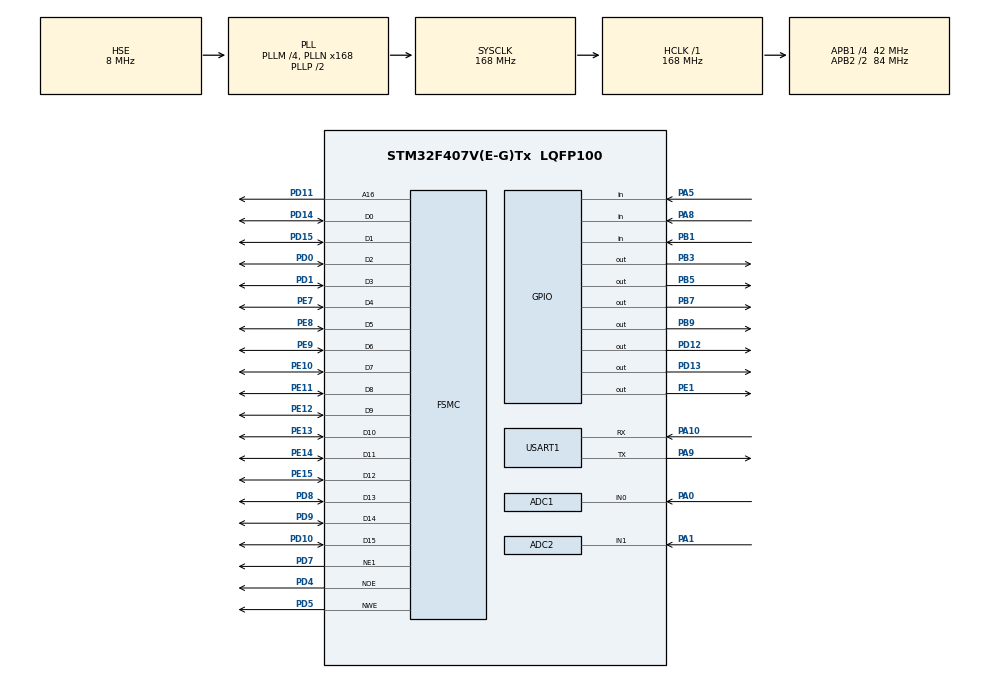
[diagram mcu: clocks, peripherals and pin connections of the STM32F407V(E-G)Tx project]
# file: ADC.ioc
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ADC1.Channel-33\#ChannelRegularConversion=ADC_CHANNEL_0
ADC1.ClockPrescaler=ADC_CLOCK_SYNC_PCLK_DIV4
ADC1.ContinuousConvMode=DISABLE
ADC1.DMAContinuousRequests=DISABLE
ADC1.DataAlign=ADC_DATAALIGN_RIGHT
ADC1.DiscontinuousConvMode=DISABLE
ADC1.EOCSelection=ADC_EOC_SINGLE_CONV
ADC1.EnableAnalogWatchDog=false
ADC1.ExternalTrigConv=ADC_SOFTWARE_START
ADC1.ExternalTrigConvEdge=ADC_EXTERNALTRIGCONVEDGE_NONE
ADC1.InjNumberOfConversion=0
ADC1.NbrOfConversion=1
ADC1.NbrOfConversionFlag=1
ADC1.Rank-33\#ChannelRegularConversion=1
ADC1.Resolution=ADC_RESOLUTION_12B
ADC1.SamplingTime-33\#ChannelRegularConversion=ADC_SAMPLETIME_3CYCLES
ADC1.ScanConvMode=DISABLE
ADC1.master=1
ADC2.Channel-13\#ChannelRegularConversion=ADC_CHANNEL_1
ADC2.ClockPrescaler=ADC_CLOCK_SYNC_PCLK_DIV4
ADC2.ContinuousConvMode=DISABLE
ADC2.DMAContinuousRequests=DISABLE
ADC2.DataAlign=ADC_DATAALIGN_RIGHT
ADC2.DiscontinuousConvMode=DISABLE
ADC2.EOCSelection=ADC_EOC_SINGLE_CONV
ADC2.EnableAnalogWatchDog=false
ADC2.ExternalTrigConv=ADC_SOFTWARE_START
ADC2.ExternalTrigConvEdge=ADC_EXTERNALTRIGCONVEDGE_NONE
ADC2.InjNumberOfConversion=0
ADC2.NbrOfConversion=1
ADC2.NbrOfConversionFlag=1
ADC2.Rank-13\#ChannelRegularConversion=1
ADC2.Resolution=ADC_RESOLUTION_12B
ADC2.SamplingTime-13\#ChannelRegularConversion=ADC_SAMPLETIME_3CYCLES
ADC2.ScanConvMode=DISABLE
FSMC.DataSetupTime1=60
FSMC.ExtendedAddressSetupTime1=3
FSMC.ExtendedDataSetupTime1=2
FSMC.ExtendedMode1=FSMC_EXTENDED_MODE_ENABLE
Mcu.Family=STM32F4
Mcu.Name=STM32F407V(E-G)Tx
Mcu.Package=LQFP100
NVIC.PriorityGroup=NVIC_PRIORITYGROUP_2
NVIC.TIM3_IRQn=true\:3\:3\:true\:false\:true
PA0-WKUP.Signal=ADCx_IN0
PA1.Signal=ADCx_IN1
PA10.Mode=Asynchronous
PA10.Signal=USART1_RX
PA5.GPIO_Mode=GPIO_MODE_INPUT
PA5.GPIO_PuPd=GPIO_NOPULL
PA5.Signal=GPIO_Input
PA8.GPIO_Mode=GPIO_MODE_INPUT
PA8.GPIO_PuPd=GPIO_NOPULL
PA8.Signal=GPIO_Input
PA9.GPIO_Mode=GPIO_MODE_AF_PP
PA9.Mode=Asynchronous
PA9.Signal=USART1_TX
PB1.GPIO_Mode=GPIO_MODE_INPUT
PB1.GPIO_PuPd=GPIO_NOPULL
PB1.Signal=GPIO_Input
PB3.GPIO_ModeDefaultOutputPP=GPIO_MODE_OUTPUT_PP
PB3.GPIO_PuPd=GPIO_NOPULL
PB3.GPIO_Speed=GPIO_SPEED_FREQ_LOW
PB3.PinState=GPIO_PIN_RESET
PB3.Signal=GPIO_Output
PB5.GPIO_ModeDefaultOutputPP=GPIO_MODE_OUTPUT_PP
PB5.GPIO_PuPd=GPIO_NOPULL
PB5.GPIO_Speed=GPIO_SPEED_FREQ_LOW
PB5.PinState=GPIO_PIN_RESET
PB5.Signal=GPIO_Output
PB7.GPIO_ModeDefaultOutputPP=GPIO_MODE_OUTPUT_PP
PB7.GPIO_PuPd=GPIO_NOPULL
PB7.GPIO_Speed=GPIO_SPEED_FREQ_LOW
PB7.PinState=GPIO_PIN_RESET
PB7.Signal=GPIO_Output
PB9.GPIO_ModeDefaultOutputPP=GPIO_MODE_OUTPUT_PP
PB9.GPIO_PuPd=GPIO_NOPULL
PB9.GPIO_Speed=GPIO_SPEED_FREQ_LOW
PB9.PinState=GPIO_PIN_RESET
PB9.Signal=GPIO_Output
PD0.GPIO_Mode=GPIO_MODE_AF_PP
PD0.GPIO_PuPd=GPIO_PULLUP
PD0.GPIO_Speed_High_Default=GPIO_SPEED_FREQ_VERY_HIGH
PD0.Mode=16b-d1
PD0.Signal=FSMC_D2
PD1.GPIO_Mode=GPIO_MODE_AF_PP
PD1.GPIO_PuPd=GPIO_PULLUP
PD1.GPIO_Speed_High_Default=GPIO_SPEED_FREQ_VERY_HIGH
PD1.Mode=16b-d1
PD1.Signal=FSMC_D3
PD10.GPIO_Mode=GPIO_MODE_AF_PP
PD10.GPIO_PuPd=GPIO_PULLUP
PD10.GPIO_Speed_High_Default=GPIO_SPEED_FREQ_VERY_HIGH
PD10.Mode=16b-d1
PD10.Signal=FSMC_D15
PD11.GPIO_Mode=GPIO_MODE_AF_PP
PD11.GPIO_PuPd=GPIO_PULLUP
PD11.GPIO_Speed_High_Default=GPIO_SPEED_FREQ_VERY_HIGH
PD11.Mode=A16_1
PD11.Signal=FSMC_A16
PD12.GPIO_ModeDefaultOutputPP=GPIO_MODE_OUTPUT_PP
PD12.GPIO_PuPd=GPIO_NOPULL
PD12.GPIO_Speed=GPIO_SPEED_FREQ_LOW
PD12.PinState=GPIO_PIN_RESET
PD12.Signal=GPIO_Output
PD13.GPIO_ModeDefaultOutputPP=GPIO_MODE_OUTPUT_PP
PD13.GPIO_PuPd=GPIO_NOPULL
PD13.GPIO_Speed=GPIO_SPEED_FREQ_LOW
PD13.PinState=GPIO_PIN_RESET
PD13.Signal=GPIO_Output
PD14.GPIO_Mode=GPIO_MODE_AF_PP
PD14.GPIO_PuPd=GPIO_PULLUP
PD14.GPIO_Speed_High_Default=GPIO_SPEED_FREQ_VERY_HIGH
PD14.Mode=16b-d1
PD14.Signal=FSMC_D0
PD15.GPIO_Mode=GPIO_MODE_AF_PP
PD15.GPIO_PuPd=GPIO_PULLUP
PD15.GPIO_Speed_High_Default=GPIO_SPEED_FREQ_VERY_HIGH
PD15.Mode=16b-d1
PD15.Signal=FSMC_D1
PD4.GPIO_Mode=GPIO_MODE_AF_PP
PD4.GPIO_PuPd=GPIO_PULLUP
PD4.GPIO_Speed_High_Default=GPIO_SPEED_FREQ_VERY_HIGH
PD4.Mode=Lcd1
PD4.Signal=FSMC_NOE
PD5.GPIO_Mode=GPIO_MODE_AF_PP
PD5.GPIO_PuPd=GPIO_PULLUP
PD5.GPIO_Speed_High_Default=GPIO_SPEED_FREQ_VERY_HIGH
PD5.Mode=Lcd1
PD5.Signal=FSMC_NWE
PD7.GPIO_Mode=GPIO_MODE_AF_PP
PD7.GPIO_PuPd=GPIO_PULLUP
PD7.GPIO_Speed_High_Default=GPIO_SPEED_FREQ_VERY_HIGH
PD7.Mode=NorPsramChipSelect1_1
PD7.Signal=FSMC_NE1
PD8.GPIO_Mode=GPIO_MODE_AF_PP
PD8.GPIO_PuPd=GPIO_PULLUP
PD8.GPIO_Speed_High_Default=GPIO_SPEED_FREQ_VERY_HIGH
PD8.Mode=16b-d1
PD8.Signal=FSMC_D13
PD9.GPIO_Mode=GPIO_MODE_AF_PP
PD9.GPIO_PuPd=GPIO_PULLUP
PD9.GPIO_Speed_High_Default=GPIO_SPEED_FREQ_VERY_HIGH
PD9.Mode=16b-d1
PD9.Signal=FSMC_D14
PE1.GPIO_ModeDefaultOutputPP=GPIO_MODE_OUTPUT_PP
PE1.GPIO_PuPd=GPIO_NOPULL
PE1.GPIO_Speed=GPIO_SPEED_FREQ_LOW
PE1.PinState=GPIO_PIN_RESET
PE1.Signal=GPIO_Output
PE10.GPIO_Mode=GPIO_MODE_AF_PP
PE10.GPIO_PuPd=GPIO_PULLUP
PE10.GPIO_Speed_High_Default=GPIO_SPEED_FREQ_VERY_HIGH
PE10.Mode=16b-d1
PE10.Signal=FSMC_D7
PE11.GPIO_Mode=GPIO_MODE_AF_PP
PE11.GPIO_PuPd=GPIO_PULLUP
PE11.GPIO_Speed_High_Default=GPIO_SPEED_FREQ_VERY_HIGH
PE11.Mode=16b-d1
PE11.Signal=FSMC_D8
PE12.GPIO_Mode=GPIO_MODE_AF_PP
PE12.GPIO_PuPd=GPIO_PULLUP
PE12.GPIO_Speed_High_Default=GPIO_SPEED_FREQ_VERY_HIGH
PE12.Mode=16b-d1
PE12.Signal=FSMC_D9
PE13.GPIO_Mode=GPIO_MODE_AF_PP
PE13.GPIO_PuPd=GPIO_PULLUP
PE13.GPIO_Speed_High_Default=GPIO_SPEED_FREQ_VERY_HIGH
PE13.Mode=16b-d1
PE13.Signal=FSMC_D10
PE14.GPIO_Mode=GPIO_MODE_AF_PP
PE14.GPIO_PuPd=GPIO_PULLUP
PE14.GPIO_Speed_High_Default=GPIO_SPEED_FREQ_VERY_HIGH
PE14.Mode=16b-d1
PE14.Signal=FSMC_D11
PE15.GPIO_Mode=GPIO_MODE_AF_PP
PE15.GPIO_PuPd=GPIO_PULLUP
PE15.GPIO_Speed_High_Default=GPIO_SPEED_FREQ_VERY_HIGH
PE15.Mode=16b-d1
PE15.Signal=FSMC_D12
PE7.GPIO_Mode=GPIO_MODE_AF_PP
PE7.GPIO_PuPd=GPIO_PULLUP
PE7.GPIO_Speed_High_Default=GPIO_SPEED_FREQ_VERY_HIGH
PE7.Mode=16b-d1
PE7.Signal=FSMC_D4
PE8.GPIO_Mode=GPIO_MODE_AF_PP
PE8.GPIO_PuPd=GPIO_PULLUP
PE8.GPIO_Speed_High_Default=GPIO_SPEED_FREQ_VERY_HIGH
PE8.Mode=16b-d1
PE8.Signal=FSMC_D5
PE9.GPIO_Mode=GPIO_MODE_AF_PP
PE9.GPIO_PuPd=GPIO_PULLUP
PE9.GPIO_Speed_High_Default=GPIO_SPEED_FREQ_VERY_HIGH
PE9.Mode=16b-d1
PE9.Signal=FSMC_D6
PH0-OSC_IN.Mode=HSE-External-Oscillator
PH0-OSC_IN.Signal=RCC_OSC_IN
PH1-OSC_OUT.Mode=HSE-External-Oscillator
PH1-OSC_OUT.Signal=RCC_OSC_OUT
ProjectManager.HeapSize=0x200
ProjectManager.StackSize=0x400
ProjectManager.TargetToolchain=MDK-ARM V5
RCC.48MHZClocksFreq_Value=84000000
RCC.AHBFreq_Value=168000000
RCC.APB1CLKDivider=RCC_HCLK_DIV4
RCC.APB1Freq_Value=42000000
RCC.APB1TimFreq_Value=84000000
RCC.APB2CLKDivider=RCC_HCLK_DIV2
RCC.APB2Freq_Value=84000000
RCC.APB2TimFreq_Value=168000000
RCC.CortexFreq_Value=168000000
RCC.HCLKFreq_Value=168000000
RCC.HSE_VALUE=8000000
RCC.HSI_VALUE=16000000
RCC.LSE_VALUE=32768
RCC.PLLM=4
RCC.PLLN=168
RCC.PLLSourceVirtual=RCC_PLLSOURCE_HSE
RCC.SYSCLKFreq_VALUE=168000000
RCC.SYSCLKSource=RCC_SYSCLKSOURCE_PLLCLK
RCC.VCOOutputFreq_Value=336000000
SH.ADCx_IN0.0=ADC1_IN0,IN0
SH.ADCx_IN1.0=ADC2_IN1,IN1
TIM3.Period=65535
TIM3.Prescaler=83
USART1.VirtualMode=VM_ASYNC
VP_TIM3_VS_ClockSourceINT.Mode=Internal
board=ADC

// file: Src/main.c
/**
  ******************************************************************************
  * File Name          : main.c
  * Description        : Main program body
  ******************************************************************************
  *
  * COPYRIGHT(c) 2017 STMicroelectronics
  *
  * Redistribution and use in source and binary forms, with or without modification,
  * are permitted provided that the following conditions are met:
  *   1. Redistributions of source code must retain the above copyright notice,
  *      this list of conditions and the following disclaimer.
  *   2. Redistributions in binary form must reproduce the above copyright notice,
  *      this list of conditions and the following disclaimer in the documentation
  *      and/or other materials provided with the distribution.
  *   3. Neither the name of STMicroelectronics nor the names of its contributors
  *      may be used to endorse or promote products derived from this software
  *      without specific prior written permission.
  *
  * THIS SOFTWARE IS PROVIDED BY THE COPYRIGHT HOLDERS AND CONTRIBUTORS "AS IS"
  * AND ANY EXPRESS OR IMPLIED WARRANTIES, INCLUDING, BUT NOT LIMITED TO, THE
  * IMPLIED WARRANTIES OF MERCHANTABILITY AND FITNESS FOR A PARTICULAR PURPOSE ARE
  * DISCLAIMED. IN NO EVENT SHALL THE COPYRIGHT HOLDER OR CONTRIBUTORS BE LIABLE
  * FOR ANY DIRECT, INDIRECT, INCIDENTAL, SPECIAL, EXEMPLARY, OR CONSEQUENTIAL
  * DAMAGES (INCLUDING, BUT NOT LIMITED TO, PROCUREMENT OF SUBSTITUTE GOODS OR
  * SERVICES; LOSS OF USE, DATA, OR PROFITS; OR BUSINESS INTERRUPTION) HOWEVER
  * CAUSED AND ON ANY THEORY OF LIABILITY, WHETHER IN CONTRACT, STRICT LIABILITY,
  * OR TORT (INCLUDING NEGLIGENCE OR OTHERWISE) ARISING IN ANY WAY OUT OF THE USE
  * OF THIS SOFTWARE, EVEN IF ADVISED OF THE POSSIBILITY OF SUCH DAMAGE.
  *
  ******************************************************************************
  */
#include "main.h"
#include "stm32f4xx_hal.h"

/* USER CODE BEGIN Includes */
#include "sys.h"
#include "delay.h"
#include "usart.h"
#include "adc.h"
#include "math.h"
#include "arm_math.h"
#include "key.h"
#define FFT_LENGTH 4096
/* USER CODE END Includes */

ADC_HandleTypeDef hadc1;
ADC_HandleTypeDef hadc2;

TIM_HandleTypeDef htim3;

SRAM_HandleTypeDef hsram1;

/* USER CODE BEGIN PV */
/* Private variables ---------------------------------------------------------*/

/* USER CODE END PV */

void SystemClock_Config(void);
void Error_Handler(void);
static void MX_GPIO_Init(void);
static void MX_FSMC_Init(void);
static void MX_USART1_UART_Init(void);
static void MX_ADC1_Init(void);
static void MX_ADC2_Init(void);
static void MX_TIM3_Init(void);

/* USER CODE BEGIN PFP */
/* Private function prototypes -----------------------------------------------*/

/* USER CODE END PFP */

/* USER CODE BEGIN 0 */
float fft_inputbuf[FFT_LENGTH*2];
float fft_outputbuf[FFT_LENGTH];
u16 timeout;
/* USER CODE END 0 */

int main(void)
{

  /* USER CODE BEGIN 1 */
	u16 a,AD[100];
	arm_cfft_radix4_instance_f32 scfft;
	u16 i=0;
	float time;
  /* USER CODE END 1 */

  /* MCU Configuration----------------------------------------------------------*/

  /* Reset of all peripherals, Initializes the Flash interface and the Systick. */
  HAL_Init();

  /* Configure the system clock */
  SystemClock_Config();

  /* Initialize all configured peripherals */
  MX_GPIO_Init();
  MX_FSMC_Init();
  MX_USART1_UART_Init();
  MX_ADC1_Init();
  MX_ADC2_Init();
  MX_TIM3_Init();
  /* USER CODE BEGIN 2 */
	HAL_TIM_Base_Start_IT(&htim3);//使能定时器和定时器中断
  /* USER CODE END 2 */

  /* Infinite loop */
  while (1)
  {

  /* USER CODE BEGIN 3 */
		if(KEY0==0)
		{
			HAL_Delay(5);
			if(KEY0==0)
			{
				arm_cfft_radix4_init_f32(&scfft,FFT_LENGTH,0,1);

				__HAL_TIM_SetCounter(&htim3,0);
				timeout=0;

				for(i=0;i<FFT_LENGTH;i++)
				{
					fft_inputbuf[2*i]=(float)Get_Adc(&hadc1);
				}
				time=__HAL_TIM_GetCounter(&htim3)+(u32)timeout*65536;
				for(i=0;i<FFT_LENGTH;i++)
				{
					fft_inputbuf[2*i]=fft_inputbuf[2*i]*3.3/4096;
				}

				printf("采样到的值为：");
				printf("\r\n\r\n");
				for(i=0;i<FFT_LENGTH;i++)
				{
					fft_inputbuf[2*i+1]=0;
					printf("%f ",fft_inputbuf[2*i]);
				}
				arm_cfft_radix4_f32(&scfft,fft_inputbuf);	//FFT计算（基4）
				arm_cmplx_mag_f32(fft_inputbuf,fft_outputbuf,FFT_LENGTH);	//把运算结果复数求模得幅值
				printf("傅里叶的值为：");
				printf("\r\n\r\n");
				for(i=0;i<FFT_LENGTH;i++)
				{
				printf("%f ",fft_outputbuf[i]);

				}
				printf("\r\n\r\n");//插入换行
				for(i=0;i<FFT_LENGTH;i++)
				{
				/*	if(fft_outputbuf[i]>=1)
					{
						printf("这是第%d个,数值为%f",i,fft_outputbuf[i]);
					printf("\r\n\r\n");//插入换行
					}*/
					fft_inputbuf[2*i]=0;
					fft_inputbuf[2*i+1]=0;
				}
				printf("总的采样时间为:%f uS",time);
				while(!KEY0);
			}
		}
		if(KEY1==0)
		{
			HAL_Delay(5);
			if(KEY1==0)
			{
				for(i=0;i<FFT_LENGTH;i++)
			{
				 fft_inputbuf[2*i]=0;
				 fft_inputbuf[2*i+1]=0;
					arm_cfft_radix4_init_f32(&scfft,FFT_LENGTH,0,1);
			}
			}
		}
  }
  /* USER CODE END 3 */

}

/** System Clock Configuration
*/
void SystemClock_Config(void)
{

  RCC_OscInitTypeDef RCC_OscInitStruct;
  RCC_ClkInitTypeDef RCC_ClkInitStruct;

    /**Configure the main internal regulator output voltage
    */
  __HAL_RCC_PWR_CLK_ENABLE();

  __HAL_PWR_VOLTAGESCALING_CONFIG(PWR_REGULATOR_VOLTAGE_SCALE1);

    /**Initializes the CPU, AHB and APB busses clocks
    */
  RCC_OscInitStruct.OscillatorType = RCC_OSCILLATORTYPE_HSE;
  RCC_OscInitStruct.HSEState = RCC_HSE_ON;
  RCC_OscInitStruct.PLL.PLLState = RCC_PLL_ON;
  RCC_OscInitStruct.PLL.PLLSource = RCC_PLLSOURCE_HSE;
  RCC_OscInitStruct.PLL.PLLM = 4;
  RCC_OscInitStruct.PLL.PLLN = 168;
  RCC_OscInitStruct.PLL.PLLP = RCC_PLLP_DIV2;
  RCC_OscInitStruct.PLL.PLLQ = 4;
  if (HAL_RCC_OscConfig(&RCC_OscInitStruct) != HAL_OK)
  {
    Error_Handler();
  }

    /**Initializes the CPU, AHB and APB busses clocks
    */
  RCC_ClkInitStruct.ClockType = RCC_CLOCKTYPE_HCLK|RCC_CLOCKTYPE_SYSCLK
                              |RCC_CLOCKTYPE_PCLK1|RCC_CLOCKTYPE_PCLK2;
  RCC_ClkInitStruct.SYSCLKSource = RCC_SYSCLKSOURCE_PLLCLK;
  RCC_ClkInitStruct.AHBCLKDivider = RCC_SYSCLK_DIV1;
  RCC_ClkInitStruct.APB1CLKDivider = RCC_HCLK_DIV4;
  RCC_ClkInitStruct.APB2CLKDivider = RCC_HCLK_DIV2;

  if (HAL_RCC_ClockConfig(&RCC_ClkInitStruct, FLASH_LATENCY_5) != HAL_OK)
  {
    Error_Handler();
  }

    /**Configure the Systick interrupt time
    */
  HAL_SYSTICK_Config(HAL_RCC_GetHCLKFreq()/1000);

    /**Configure the Systick
    */
  HAL_SYSTICK_CLKSourceConfig(SYSTICK_CLKSOURCE_HCLK);

  /* SysTick_IRQn interrupt configuration */
  HAL_NVIC_SetPriority(SysTick_IRQn, 0, 0);
}

/* ADC1 init function */
static void MX_ADC1_Init(void)
{

  ADC_ChannelConfTypeDef sConfig;

    /**Configure the global features of the ADC (Clock, Resolution, Data Alignment and number of conversion)
    */
  hadc1.Instance = ADC1;
  hadc1.Init.ClockPrescaler = ADC_CLOCK_SYNC_PCLK_DIV4;
  hadc1.Init.Resolution = ADC_RESOLUTION_12B;
  hadc1.Init.ScanConvMode = DISABLE;
  hadc1.Init.ContinuousConvMode = DISABLE;
  hadc1.Init.DiscontinuousConvMode = DISABLE;
  hadc1.Init.ExternalTrigConvEdge = ADC_EXTERNALTRIGCONVEDGE_NONE;
  hadc1.Init.ExternalTrigConv = ADC_SOFTWARE_START;
  hadc1.Init.DataAlign = ADC_DATAALIGN_RIGHT;
  hadc1.Init.NbrOfConversion = 1;
  hadc1.Init.DMAContinuousRequests = DISABLE;
  hadc1.Init.EOCSelection = ADC_EOC_SINGLE_CONV;
  if (HAL_ADC_Init(&hadc1) != HAL_OK)
  {
    Error_Handler();
  }

    /**Configure for the selected ADC regular channel its corresponding rank in the sequencer and its sample time.
    */
  sConfig.Channel = ADC_CHANNEL_0;
  sConfig.Rank = 1;
  sConfig.SamplingTime = ADC_SAMPLETIME_3CYCLES;
  if (HAL_ADC_ConfigChannel(&hadc1, &sConfig) != HAL_OK)
  {
    Error_Handler();
  }

}

/* ADC2 init function */
static void MX_ADC2_Init(void)
{

  ADC_ChannelConfTypeDef sConfig;

    /**Configure the global features of the ADC (Clock, Resolution, Data Alignment and number of conversion)
    */
  hadc2.Instance = ADC2;
  hadc2.Init.ClockPrescaler = ADC_CLOCK_SYNC_PCLK_DIV4;
  hadc2.Init.Resolution = ADC_RESOLUTION_12B;
  hadc2.Init.ScanConvMode = DISABLE;
  hadc2.Init.ContinuousConvMode = DISABLE;
  hadc2.Init.DiscontinuousConvMode = DISABLE;
  hadc2.Init.ExternalTrigConvEdge = ADC_EXTERNALTRIGCONVEDGE_NONE;
  hadc2.Init.ExternalTrigConv = ADC_SOFTWARE_START;
  hadc2.Init.DataAlign = ADC_DATAALIGN_RIGHT;
  hadc2.Init.NbrOfConversion = 1;
  hadc2.Init.DMAContinuousRequests = DISABLE;
  hadc2.Init.EOCSelection = ADC_EOC_SINGLE_CONV;
  if (HAL_ADC_Init(&hadc2) != HAL_OK)
  {
    Error_Handler();
  }

    /**Configure for the selected ADC regular channel its corresponding rank in the sequencer and its sample time.
    */
  sConfig.Channel = ADC_CHANNEL_1;
  sConfig.Rank = 1;
  sConfig.SamplingTime = ADC_SAMPLETIME_3CYCLES;
  if (HAL_ADC_ConfigChannel(&hadc2, &sConfig) != HAL_OK)
  {
    Error_Handler();
  }

}

/* TIM3 init function */
static void MX_TIM3_Init(void)
{

  TIM_ClockConfigTypeDef sClockSourceConfig;
  TIM_MasterConfigTypeDef sMasterConfig;

  htim3.Instance = TIM3;
  htim3.Init.Prescaler = 83;
  htim3.Init.CounterMode = TIM_COUNTERMODE_UP;
  htim3.Init.Period = 65535;
  htim3.Init.ClockDivision = TIM_CLOCKDIVISION_DIV1;
  if (HAL_TIM_Base_Init(&htim3) != HAL_OK)
  {
    Error_Handler();
  }

  sClockSourceConfig.ClockSource = TIM_CLOCKSOURCE_INTERNAL;
  if (HAL_TIM_ConfigClockSource(&htim3, &sClockSourceConfig) != HAL_OK)
  {
    Error_Handler();
  }

  sMasterConfig.MasterOutputTrigger = TIM_TRGO_RESET;
  sMasterConfig.MasterSlaveMode = TIM_MASTERSLAVEMODE_DISABLE;
  if (HAL_TIMEx_MasterConfigSynchronization(&htim3, &sMasterConfig) != HAL_OK)
  {
    Error_Handler();
  }

}

/* USART1 init function */
static void MX_USART1_UART_Init(void)
{

  huart1.Instance = USART1;
  huart1.Init.BaudRate = 115200;
  huart1.Init.WordLength = UART_WORDLENGTH_8B;
  huart1.Init.StopBits = UART_STOPBITS_1;
  huart1.Init.Parity = UART_PARITY_NONE;
  huart1.Init.Mode = UART_MODE_TX_RX;
  huart1.Init.HwFlowCtl = UART_HWCONTROL_NONE;
  huart1.Init.OverSampling = UART_OVERSAMPLING_16;
  if (HAL_UART_Init(&huart1) != HAL_OK)
  {
    Error_Handler();
  }

}

/** Configure pins as
        * Analog
        * Input
        * Output
        * EVENT_OUT
        * EXTI
*/
static void MX_GPIO_Init(void)
{

  GPIO_InitTypeDef GPIO_InitStruct;

  /* GPIO Ports Clock Enable */
  __HAL_RCC_GPIOH_CLK_ENABLE();
  __HAL_RCC_GPIOA_CLK_ENABLE();
  __HAL_RCC_GPIOB_CLK_ENABLE();
  __HAL_RCC_GPIOE_CLK_ENABLE();
  __HAL_RCC_GPIOD_CLK_ENABLE();

  /*Configure GPIO pin Output Level */
  HAL_GPIO_WritePin(GPIOD, GPIO_PIN_12|GPIO_PIN_13, GPIO_PIN_RESET);

  /*Configure GPIO pin Output Level */
  HAL_GPIO_WritePin(GPIOB, GPIO_PIN_3|GPIO_PIN_5|GPIO_PIN_7|GPIO_PIN_9, GPIO_PIN_RESET);

  /*Configure GPIO pin Output Level */
  HAL_GPIO_WritePin(GPIOE, GPIO_PIN_1, GPIO_PIN_RESET);

  /*Configure GPIO pins : PA5 PA8 */
  GPIO_InitStruct.Pin = GPIO_PIN_5|GPIO_PIN_8;
  GPIO_InitStruct.Mode = GPIO_MODE_INPUT;
  GPIO_InitStruct.Pull = GPIO_NOPULL;
  HAL_GPIO_Init(GPIOA, &GPIO_InitStruct);

  /*Configure GPIO pin : PB1 */
  GPIO_InitStruct.Pin = GPIO_PIN_1;
  GPIO_InitStruct.Mode = GPIO_MODE_INPUT;
  GPIO_InitStruct.Pull = GPIO_NOPULL;
  HAL_GPIO_Init(GPIOB, &GPIO_InitStruct);

  /*Configure GPIO pins : PD12 PD13 */
  GPIO_InitStruct.Pin = GPIO_PIN_12|GPIO_PIN_13;
  GPIO_InitStruct.Mode = GPIO_MODE_OUTPUT_PP;
  GPIO_InitStruct.Pull = GPIO_NOPULL;
  GPIO_InitStruct.Speed = GPIO_SPEED_FREQ_LOW;
  HAL_GPIO_Init(GPIOD, &GPIO_InitStruct);

  /*Configure GPIO pins : PB3 PB5 PB7 PB9 */
  GPIO_InitStruct.Pin = GPIO_PIN_3|GPIO_PIN_5|GPIO_PIN_7|GPIO_PIN_9;
  GPIO_InitStruct.Mode = GPIO_MODE_OUTPUT_PP;
  GPIO_InitStruct.Pull = GPIO_NOPULL;
  GPIO_InitStruct.Speed = GPIO_SPEED_FREQ_LOW;
  HAL_GPIO_Init(GPIOB, &GPIO_InitStruct);

  /*Configure GPIO pin : PE1 */
  GPIO_InitStruct.Pin = GPIO_PIN_1;
  GPIO_InitStruct.Mode = GPIO_MODE_OUTPUT_PP;
  GPIO_InitStruct.Pull = GPIO_NOPULL;
  GPIO_InitStruct.Speed = GPIO_SPEED_FREQ_LOW;
  HAL_GPIO_Init(GPIOE, &GPIO_InitStruct);

}

/* FSMC initialization function */
static void MX_FSMC_Init(void)
{
  FSMC_NORSRAM_TimingTypeDef Timing;
  FSMC_NORSRAM_TimingTypeDef ExtTiming;

  /** Perform the SRAM1 memory initialization sequence
  */
  hsram1.Instance = FSMC_NORSRAM_DEVICE;
  hsram1.Extended = FSMC_NORSRAM_EXTENDED_DEVICE;
  /* hsram1.Init */
  hsram1.Init.NSBank = FSMC_NORSRAM_BANK1;
  hsram1.Init.DataAddressMux = FSMC_DATA_ADDRESS_MUX_DISABLE;
  hsram1.Init.MemoryType = FSMC_MEMORY_TYPE_SRAM;
  hsram1.Init.MemoryDataWidth = FSMC_NORSRAM_MEM_BUS_WIDTH_16;
  hsram1.Init.BurstAccessMode = FSMC_BURST_ACCESS_MODE_DISABLE;
  hsram1.Init.WaitSignalPolarity = FSMC_WAIT_SIGNAL_POLARITY_LOW;
  hsram1.Init.WrapMode = FSMC_WRAP_MODE_DISABLE;
  hsram1.Init.WaitSignalActive = FSMC_WAIT_TIMING_BEFORE_WS;
  hsram1.Init.WriteOperation = FSMC_WRITE_OPERATION_ENABLE;
  hsram1.Init.WaitSignal = FSMC_WAIT_SIGNAL_DISABLE;
  hsram1.Init.ExtendedMode = FSMC_EXTENDED_MODE_ENABLE;
  hsram1.Init.AsynchronousWait = FSMC_ASYNCHRONOUS_WAIT_DISABLE;
  hsram1.Init.WriteBurst = FSMC_WRITE_BURST_DISABLE;
  hsram1.Init.PageSize = FSMC_PAGE_SIZE_NONE;
  /* Timing */
  Timing.AddressSetupTime = 15;
  Timing.AddressHoldTime = 15;
  Timing.DataSetupTime = 60;
  Timing.BusTurnAroundDuration = 15;
  Timing.CLKDivision = 16;
  Timing.DataLatency = 17;
  Timing.AccessMode = FSMC_ACCESS_MODE_A;
  /* ExtTiming */
  ExtTiming.AddressSetupTime = 3;
  ExtTiming.AddressHoldTime = 15;
  ExtTiming.DataSetupTime = 2;
  ExtTiming.BusTurnAroundDuration = 15;
  ExtTiming.CLKDivision = 16;
  ExtTiming.DataLatency = 17;
  ExtTiming.AccessMode = FSMC_ACCESS_MODE_A;

  if (HAL_SRAM_Init(&hsram1, &Timing, &ExtTiming) != HAL_OK)
  {
    Error_Handler();
  }

}

/* USER CODE BEGIN 4 */
void HAL_TIM_PeriodElapsedCallback(TIM_HandleTypeDef *htim)//产生的回调函数如果是定时器3
{
    if(htim==(&htim3))       //定时器3
    {
        timeout++;
    }

}
/* USER CODE END 4 */

void Error_Handler(void)
{
  while(1)
  {
  }
}

/************************ (C) COPYRIGHT STMicroelectronics *****END OF FILE****/
